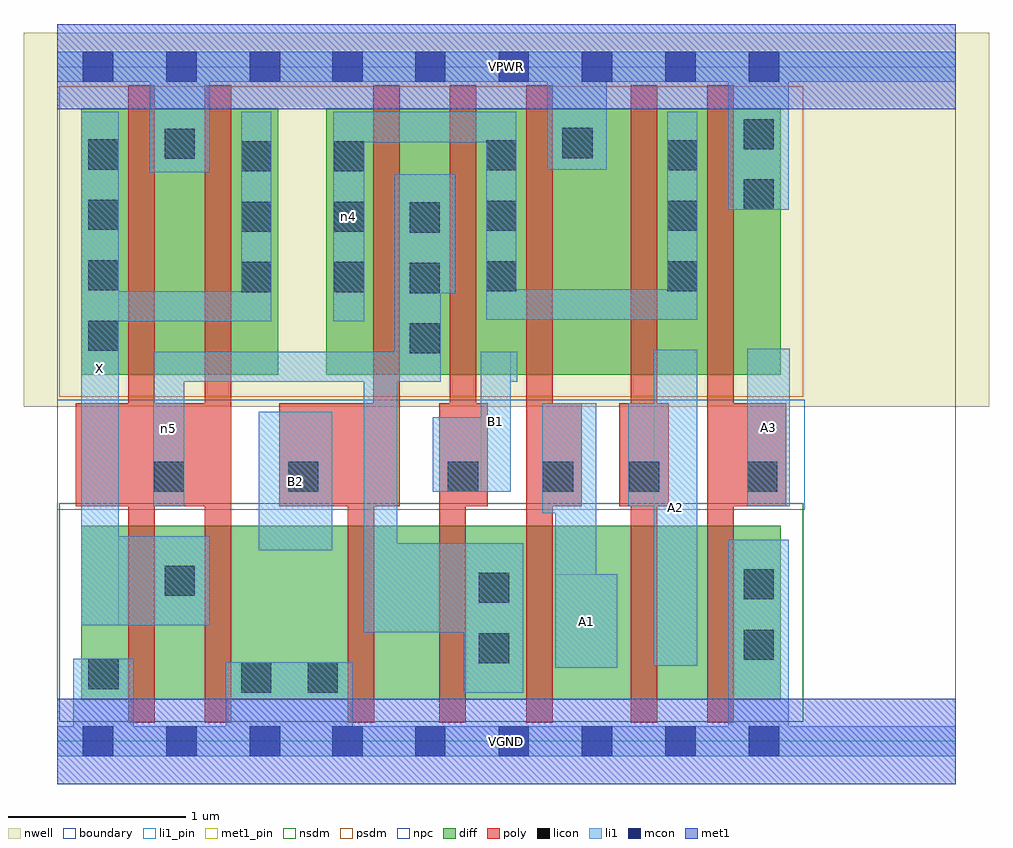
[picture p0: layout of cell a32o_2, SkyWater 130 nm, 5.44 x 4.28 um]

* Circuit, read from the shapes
.subckt a32o_2 A1 A2 A3 B1 B2 VGND VPWR X n4 n5
XM1 X n5 VGND VSUBS sky130_fd_pr__nfet_01v8 w=0.98 l=0.15 m=2
XM2 n1 B2 VGND VSUBS sky130_fd_pr__nfet_01v8 w=0.98 l=0.15
XM3 n5 B1 n1 VSUBS sky130_fd_pr__nfet_01v8 w=0.98 l=0.15
XM4 n2 A1 n5 VSUBS sky130_fd_pr__nfet_01v8 w=0.98 l=0.15
XM5 n3 A2 n2 VSUBS sky130_fd_pr__nfet_01v8 w=0.98 l=0.15
XM6 VGND A3 n3 VSUBS sky130_fd_pr__nfet_01v8 w=0.98 l=0.15
XM7 VPWR n5 X n6 sky130_fd_pr__pfet_01v8 w=1.5 l=0.15 m=2
XM8 n5 B2 n4 n6 sky130_fd_pr__pfet_01v8 w=1.5 l=0.15
XM9 n4 B1 n5 n6 sky130_fd_pr__pfet_01v8 w=1.5 l=0.15
XM10 VPWR A1 n4 n6 sky130_fd_pr__pfet_01v8 w=1.5 l=0.15
XM11 n4 A2 VPWR n6 sky130_fd_pr__pfet_01v8 w=1.5 l=0.15
XM12 VPWR A3 n4 n6 sky130_fd_pr__pfet_01v8 w=1.5 l=0.15
.ends

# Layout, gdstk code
import gdstk
lib = gdstk.Library(unit=1e-6, precision=1e-09)
def R(c, l, rs):  # rectangles x0, y0, x1, y1
    for r in rs: c.add(gdstk.rectangle(r[:2], r[2:], *l))
def A(c, l, x, y, w, h, nx, ny, dx, dy):  # array of equal rectangles
    R(c, l, [(x+i*dx, y+j*dy, x+i*dx+w, y+j*dy+h) for i in range(nx) for j in range(ny)])
nwell = (64, 20)
diff = (65, 20)
poly = (66, 20)
licon = (66, 44)
li1_pin = (67, 16)
li1 = (67, 20)
mcon = (67, 44)
met1_pin = (68, 16)
met1 = (68, 20)
nsdm = (93, 44)
psdm = (94, 20)
npc = (95, 20)
boundary = (235, 4)

a32o_2 = lib.new_cell('a32o_2')
R(a32o_2, nwell, [(-0.19,1.885,5.25,3.99), (0,1.885,5.06,3.99)])
R(a32o_2, diff, [(0.135,0.235,4.075,1.215), (0.135,2.065,1.245,3.565), (1.515,2.065,4.075,3.565)])
R(a32o_2, poly, [(0.4,0.105,0.55,3.695), (0.83,0.105,0.98,3.695), (1.635,0.105,1.785,1.905), (2.15,0.105,2.3,1.905), (2.64,0.105,2.79,3.695), (3.23,0.105,3.38,3.695), (3.66,0.105,3.81,3.695), (0.105,1.325,0.98,1.905), (1.25,1.325,1.93,1.905), (1.78,1.325,1.93,3.695), (2.15,1.325,2.425,1.905), (2.21,1.325,2.36,3.695), (2.64,1.325,2.955,1.905), (3.165,1.325,3.445,1.905), (3.66,1.325,4.105,1.905)])
A(a32o_2, licon, 1.985, 2.185, 0.17, 0.17, 1, 3, 0, 0.34)
A(a32o_2, licon, 0.175, 2.2, 0.17, 0.17, 1, 4, 0, 0.34)
A(a32o_2, licon, 1.035, 2.53, 0.17, 0.17, 1, 3, 0, 0.34)
A(a32o_2, licon, 1.56, 2.53, 0.17, 0.17, 1, 3, 0, 0.34)
A(a32o_2, licon, 2.415, 2.535, 0.17, 0.17, 1, 3, 0, 0.34)
A(a32o_2, licon, 3.435, 2.535, 0.17, 0.17, 1, 3, 0, 0.34)
R(a32o_2, licon, [(1.035,0.275,1.205,0.445), (1.41,0.275,1.58,0.445), (0.175,0.295,0.345,0.465), (2.375,0.44,2.545,0.61), (3.865,0.46,4.035,0.63), (2.375,0.78,2.545,0.95), (3.865,0.8,4.035,0.97), (0.605,0.82,0.775,0.99), (0.545,1.405,0.715,1.575), (1.3,1.405,1.47,1.575), (2.2,1.405,2.37,1.575), (2.735,1.405,2.905,1.575), (3.22,1.405,3.39,1.575), (3.885,1.405,4.055,1.575), (3.865,2.995,4.035,3.165), (0.605,3.28,0.775,3.45), (2.845,3.285,3.015,3.455), (3.865,3.335,4.035,3.505)])
R(a32o_2, li1_pin, [(2.805,0.415,3.155,0.94), (3.36,0.425,3.605,2.205), (0.135,0.655,0.345,3.545), (1.135,1.075,1.55,1.855), (3.885,1.325,4.125,2.21), (2.385,1.405,2.555,2.195)])
R(a32o_2, li1, [(0,-0.085,5.06,0.085), (0.09,-0.085,0.43,0.465), (0.95,-0.085,1.665,0.445), (3.78,-0.085,4.12,1.135), (2.29,0.275,2.625,1.115), (2.805,0.415,3.035,1.905), (2.805,0.415,3.155,0.94), (3.36,0.425,3.605,2.205), (1.725,0.615,1.915,2.195), (1.725,0.615,2.625,1.115), (0.135,0.655,0.345,3.545), (0.135,0.655,0.86,1.155), (1.135,1.075,1.55,1.855), (2.73,1.285,3.035,1.905), (0.54,1.325,0.715,2.195), (3.215,1.325,3.605,1.905), (3.885,1.325,4.125,2.21), (2.115,1.405,2.555,1.825), (2.385,1.405,2.555,2.195), (0.54,2.025,2.16,2.195), (1.9,2.025,2.16,3.195), (2.385,2.025,2.59,2.195), (0.135,2.365,1.205,2.535), (1.035,2.365,1.205,3.545), (1.555,2.365,1.73,3.545), (2.415,2.375,3.605,2.545), (2.415,2.375,2.585,3.545), (3.435,2.375,3.605,3.545), (1.9,2.525,2.24,3.195), (3.78,2.995,4.12,3.885), (0.52,3.205,0.86,3.885), (2.76,3.22,3.095,3.885), (1.555,3.375,2.585,3.545), (0,3.715,5.06,3.885)])
A(a32o_2, mcon, 0.145, -0.085, 0.17, 0.17, 3, 2, 0.47, 3.8)
A(a32o_2, mcon, 2.015, -0.085, 0.17, 0.17, 5, 2, 0.47, 3.8)
R(a32o_2, mcon, [(1.55,-0.085,1.72,0.085), (1.55,3.715,1.72,3.885)])
R(a32o_2, met1_pin, [(0,-0.24,5.06,0.24), (0,3.56,5.06,4.04)])
R(a32o_2, met1, [(0,-0.24,5.06,0.24), (0,3.56,5.06,4.04)])
R(a32o_2, nsdm, [(0.01,0.11,4.2,1.34)])
R(a32o_2, psdm, [(0.01,1.94,4.2,3.69)])
R(a32o_2, npc, [(0,1.305,4.21,1.925)])
R(a32o_2, boundary, [(0,0,5.06,3.8)])
a32o_2.add(gdstk.Label('A1', (2.98,0.677), layer=67, texttype=5))
a32o_2.add(gdstk.Label('A2', (3.482,1.315), layer=67, texttype=5))
a32o_2.add(gdstk.Label('A3', (4.005,1.767), layer=67, texttype=5))
a32o_2.add(gdstk.Label('B1', (2.47,1.8), layer=67, texttype=5))
a32o_2.add(gdstk.Label('B2', (1.342,1.465), layer=67, texttype=5))
a32o_2.add(gdstk.Label('X', (0.24,2.1), layer=67, texttype=5))
a32o_2.add(gdstk.Label('n5', (0.627,1.76), layer=67, texttype=5))
a32o_2.add(gdstk.Label('n4', (1.642,2.955), layer=67, texttype=5))
a32o_2.add(gdstk.Label('VPWR', (2.53,3.8), layer=68, texttype=5))
a32o_2.add(gdstk.Label('VGND', (2.53,0), layer=68, texttype=5))
a32o_2.add(gdstk.Label('A1', (2.98,0.677), layer=67, texttype=16))
a32o_2.add(gdstk.Label('A2', (3.482,1.315), layer=67, texttype=16))
a32o_2.add(gdstk.Label('A3', (4.005,1.767), layer=67, texttype=16))
a32o_2.add(gdstk.Label('B1', (2.47,1.8), layer=67, texttype=16))
a32o_2.add(gdstk.Label('B2', (1.342,1.465), layer=67, texttype=16))
a32o_2.add(gdstk.Label('X', (0.24,2.1), layer=67, texttype=16))
a32o_2.add(gdstk.Label('VPWR', (2.53,3.8), layer=68, texttype=16))
a32o_2.add(gdstk.Label('VGND', (2.53,0), layer=68, texttype=16))

lib.write_gds('a32o_2.gds')
